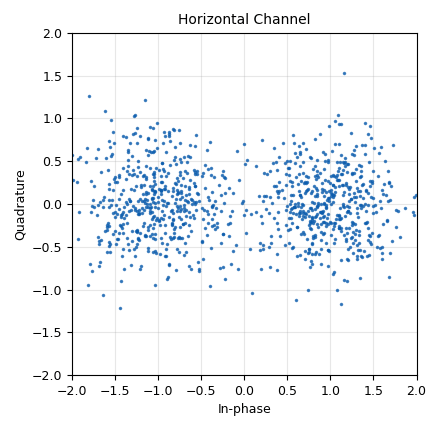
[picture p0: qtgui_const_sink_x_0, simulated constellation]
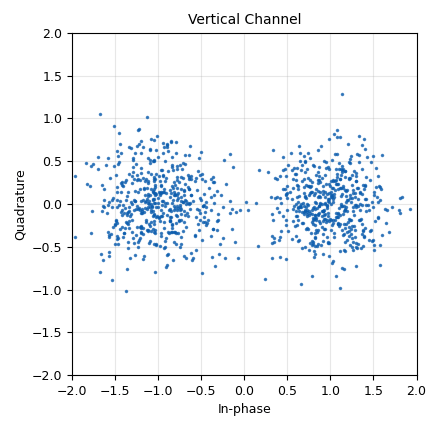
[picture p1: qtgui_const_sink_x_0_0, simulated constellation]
options:
  parameters:
    author: Example
    category: Custom
    description: Adjust the noise and constellation... see what happens!
    generate_options: qt_gui
    id: ber_simulation
    output_language: python
    title: BER Simulation
  states: {}

blocks:
- name: EbN0
  id: variable_qtgui_range
  parameters:
    gui_hint: 5,0,1,1
    label: Eb / N0 (dB)
    min_len: '50'
    orient: Qt.Horizontal
    start: '-20'
    step: '1'
    stop: '20'
    value: '5'
  states: {}
- name: const
  id: variable
  parameters:
    value: (digital.constellation_bpsk(), digital.constellation_qpsk(), digital.constellation_8psk())
  states: {}
- name: const_type
  id: variable_qtgui_chooser
  parameters:
    label: '"Constellation Selection"'
    label0: BPSK
    label1: QPSK
    label2: 8PSK
    num_opts: '3'
    option1: '1'
    option2: '2'
    orient: Qt.QHBoxLayout
    type: int
    value: '0'
    widget: radio_buttons
  states: {state: disabled}
- name: const_type
  id: variable
  parameters:
    value: '0'
  states: {}
- name: freq
  id: variable
  parameters:
    value: 1e3
  states: {}
- name: offset
  id: variable_qtgui_range
  parameters:
    gui_hint: 5,1
    label: Offset
    min_len: '10'
    orient: Qt.Horizontal
    start: '0'
    step: math.pi/20
    stop: math.pi/2.0
    value: 6*math.pi/20
  states: {}
- name: samp_rate
  id: variable
  parameters:
    value: 100e3
  states: {}
- name: samples
  id: variable
  parameters:
    value: '10000000'
  states: {}
- name: tx_amp
  id: variable
  parameters:
    value: '10'
  states: {state: disabled}
- name: variable_qtgui_label_0
  id: variable_qtgui_label
  parameters:
    label: Constellation Type
    type: string
    value: '{0: ''BPSK'', 1: ''QPSK'', 2: ''8-PSK''}[const_type] + " - Change const_type for different constellation types!"'
  states: {}
- name: Maximal_Combining_0
  id: Maximal_Combining
  parameters: {}
  states: {}
- name: Selective_Combining_0
  id: Selective_Combining
  parameters: {}
  states: {}
- name: analog_noise_source_x
  id: analog_noise_source_x
  parameters:
    amp: 1.0 / math.sqrt(2.0 * const[const_type].bits_per_symbol() * 10**(math.cos(offset)*math.cos(offset)*EbN0/10))
    noise_type: analog.GR_GAUSSIAN
    seed: '-42'
    type: complex
  states: {}
- name: analog_noise_source_x_0
  id: analog_noise_source_x
  parameters:
    amp: 1.0 / math.sqrt(2.0 * const[const_type].bits_per_symbol() * 10**(math.cos(math.pi/2-offset)*math.cos(math.pi/2-offset)*EbN0/10))
    noise_type: analog.GR_GAUSSIAN
    seed: '-42'
    type: complex
  states: {}
- name: analog_noise_source_x_0_0
  id: analog_noise_source_x
  parameters:
    amp: 1.0 / math.sqrt(math.cos(math.pi/2-offset)*math.cos(math.pi/2-offset)*2.0 * const[const_type].bits_per_symbol() * 10**(EbN0/10))
    noise_type: analog.GR_GAUSSIAN
    seed: '-42'
    type: complex
  states: {state: disabled}
- name: analog_noise_source_x_1
  id: analog_noise_source_x
  parameters:
    amp: 1.0 / math.sqrt(math.cos(offset)*math.cos(offset)*2.0 * const[const_type].bits_per_symbol() * 10**(EbN0/10))
    noise_type: analog.GR_GAUSSIAN
    seed: '-42'
    type: complex
  states: {state: disabled}
- name: analog_random_source_x
  id: analog_random_source_x
  parameters:
    max: const[const_type].arity()
    min: '0'
    num_samps: samples
    repeat: 'False'
    type: byte
  states: {}
- name: blocks_add_xx
  id: blocks_add_xx
  parameters:
    type: complex
  states: {}
- name: blocks_add_xx_0
  id: blocks_add_xx
  parameters:
    type: complex
  states: {}
- name: blocks_pack_k_bits_bb_0
  id: blocks_pack_k_bits_bb
  parameters:
    k: '1'
  states: {}
- name: blocks_throttle
  id: blocks_throttle
  parameters:
    samples_per_second: samp_rate
    type: byte
  states: {}
- name: digital_chunks_to_symbols_xx
  id: digital_chunks_to_symbols_xx
  parameters:
    dimension: '1'
    in_type: byte
    out_type: complex
    symbol_table: const[const_type].points()
  states: {}
- name: digital_constellation_decoder_cb_0
  id: digital_constellation_decoder_cb
  parameters:
    constellation: const[const_type].base()
  states: {}
- name: digital_constellation_decoder_cb_0_0
  id: digital_constellation_decoder_cb
  parameters:
    constellation: const[const_type].base()
  states: {}
- name: digital_constellation_decoder_cb_0_0_0
  id: digital_constellation_decoder_cb
  parameters:
    constellation: const[const_type].base()
  states: {}
- name: digital_constellation_decoder_cb_0_0_0_0
  id: digital_constellation_decoder_cb
  parameters:
    constellation: const[const_type].base()
  states: {}
- name: fec_ber_bf_0
  id: fec_ber_bf
  parameters:
    test_mode: 'False'
  states: {}
- name: fec_ber_bf_0_0
  id: fec_ber_bf
  parameters:
    test_mode: 'False'
  states: {}
- name: fec_ber_bf_0_0_0
  id: fec_ber_bf
  parameters:
    test_mode: 'False'
  states: {}
- name: fec_ber_bf_0_0_0_0
  id: fec_ber_bf
  parameters:
    berlimit: '-7'
    test_mode: 'False'
  states: {}
- name: import_0
  id: import
  parameters:
    imports: import math, cmath, numpy
  states: {}
- name: qtgui_const_sink_x_0
  id: qtgui_const_sink_x
  parameters:
    alpha1: '0.6'
    grid: 'True'
    gui_hint: (2,0,1,1)
    label1: '"Constellation: "+str(const[const_type].arity()) + "-PSK"'
    legend: 'False'
    name: '"Horizontal Channel"'
    size: '1024'
    type: complex
  states: {}
- name: qtgui_const_sink_x_0_0
  id: qtgui_const_sink_x
  parameters:
    alpha1: '0.6'
    grid: 'True'
    gui_hint: (2,1,1,1)
    label1: '"Constellation: "+str(const[const_type].arity()) + "-PSK"'
    legend: 'False'
    name: '"Vertical Channel"'
    size: '1024'
    type: complex
  states: {}
- name: qtgui_const_sink_x_0_0_0
  id: qtgui_const_sink_x
  parameters:
    alpha1: '0.6'
    grid: 'True'
    gui_hint: (4,0,1,1)
    label1: '"Constellation: "+str(const[const_type].arity()) + "-PSK"'
    legend: 'False'
    name: '"Result of Maximal Combining"'
    size: '1024'
    type: complex
    xmax: '3'
    xmin: '-3'
    ymax: '3'
    ymin: '-3'
  states: {}
- name: qtgui_const_sink_x_0_0_0_0
  id: qtgui_const_sink_x
  parameters:
    alpha1: '0.6'
    grid: 'True'
    gui_hint: 4,1,1,1
    label1: '"Constellation: "+str(const[const_type].arity()) + "-PSK"'
    legend: 'False'
    name: '"Result of Selective Combining"'
    size: '1024'
    type: complex
  states: {}
- name: qtgui_number_sink_0
  id: qtgui_number_sink
  parameters:
    autoscale: 'True'
    factor1: 1e6
    graph_type: qtgui.NUM_GRAPH_HORIZ
    gui_hint: 1,0,1,1
    label1: BER
    min: '0'
    name: '"Horizontal"'
    type: float
    unit1: x10^-6
    update_time: '0.1'
  states: {}
- name: qtgui_number_sink_0_0
  id: qtgui_number_sink
  parameters:
    autoscale: 'True'
    factor1: 1e6
    graph_type: qtgui.NUM_GRAPH_HORIZ
    gui_hint: 1,1,1,1
    label1: BER
    min: '0'
    name: '"Vertical"'
    type: float
    unit1: x10^-6
    update_time: '0.1'
  states: {}
- name: qtgui_number_sink_0_0_0
  id: qtgui_number_sink
  parameters:
    autoscale: 'True'
    factor1: 1e6
    graph_type: qtgui.NUM_GRAPH_HORIZ
    gui_hint: 3,0,1,1
    label1: BER
    min: '0'
    name: '"Maximally Combined"'
    type: float
    unit1: x10^-6
    update_time: '0.1'
  states: {}
- name: qtgui_number_sink_0_0_0_0
  id: qtgui_number_sink
  parameters:
    autoscale: 'True'
    factor1: 1e6
    graph_type: qtgui.NUM_GRAPH_HORIZ
    gui_hint: 3,1,1,1
    label1: BER
    min: '0'
    name: '"Selectively Combined"'
    type: float
    unit1: x10^-6
    update_time: '0.1'
  states: {}

connections:
- [Maximal_Combining_0, '0', digital_constellation_decoder_cb_0_0_0, '0']
- [Maximal_Combining_0, '0', qtgui_const_sink_x_0_0_0, '0']
- [Selective_Combining_0, '0', digital_constellation_decoder_cb_0_0_0_0, '0']
- [Selective_Combining_0, '0', qtgui_const_sink_x_0_0_0_0, '0']
- [analog_noise_source_x, '0', blocks_add_xx, '1']
- [analog_noise_source_x_0, '0', blocks_add_xx_0, '1']
- [analog_noise_source_x_0_0, '0', blocks_add_xx_0, '1']
- [analog_noise_source_x_1, '0', blocks_add_xx, '1']
- [analog_random_source_x, '0', blocks_throttle, '0']
- [analog_random_source_x, '0', digital_chunks_to_symbols_xx, '0']
- [blocks_add_xx, '0', Maximal_Combining_0, '0']
- [blocks_add_xx, '0', Selective_Combining_0, '0']
- [blocks_add_xx, '0', digital_constellation_decoder_cb_0, '0']
- [blocks_add_xx, '0', qtgui_const_sink_x_0, '0']
- [blocks_add_xx_0, '0', Maximal_Combining_0, '1']
- [blocks_add_xx_0, '0', Selective_Combining_0, '1']
- [blocks_add_xx_0, '0', digital_constellation_decoder_cb_0_0, '0']
- [blocks_add_xx_0, '0', qtgui_const_sink_x_0_0, '0']
- [blocks_pack_k_bits_bb_0, '0', fec_ber_bf_0, '1']
- [blocks_throttle, '0', blocks_pack_k_bits_bb_0, '0']
- [blocks_throttle, '0', fec_ber_bf_0_0, '1']
- [blocks_throttle, '0', fec_ber_bf_0_0_0, '1']
- [blocks_throttle, '0', fec_ber_bf_0_0_0_0, '1']
- [digital_chunks_to_symbols_xx, '0', blocks_add_xx, '0']
- [digital_chunks_to_symbols_xx, '0', blocks_add_xx_0, '0']
- [digital_constellation_decoder_cb_0, '0', fec_ber_bf_0, '0']
- [digital_constellation_decoder_cb_0_0, '0', fec_ber_bf_0_0, '0']
- [digital_constellation_decoder_cb_0_0_0, '0', fec_ber_bf_0_0_0, '0']
- [digital_constellation_decoder_cb_0_0_0_0, '0', fec_ber_bf_0_0_0_0, '0']
- [fec_ber_bf_0, '0', qtgui_number_sink_0, '0']
- [fec_ber_bf_0_0, '0', qtgui_number_sink_0_0, '0']
- [fec_ber_bf_0_0_0, '0', qtgui_number_sink_0_0_0, '0']
- [fec_ber_bf_0_0_0_0, '0', qtgui_number_sink_0_0_0_0, '0']

metadata:
  file_format: 1
